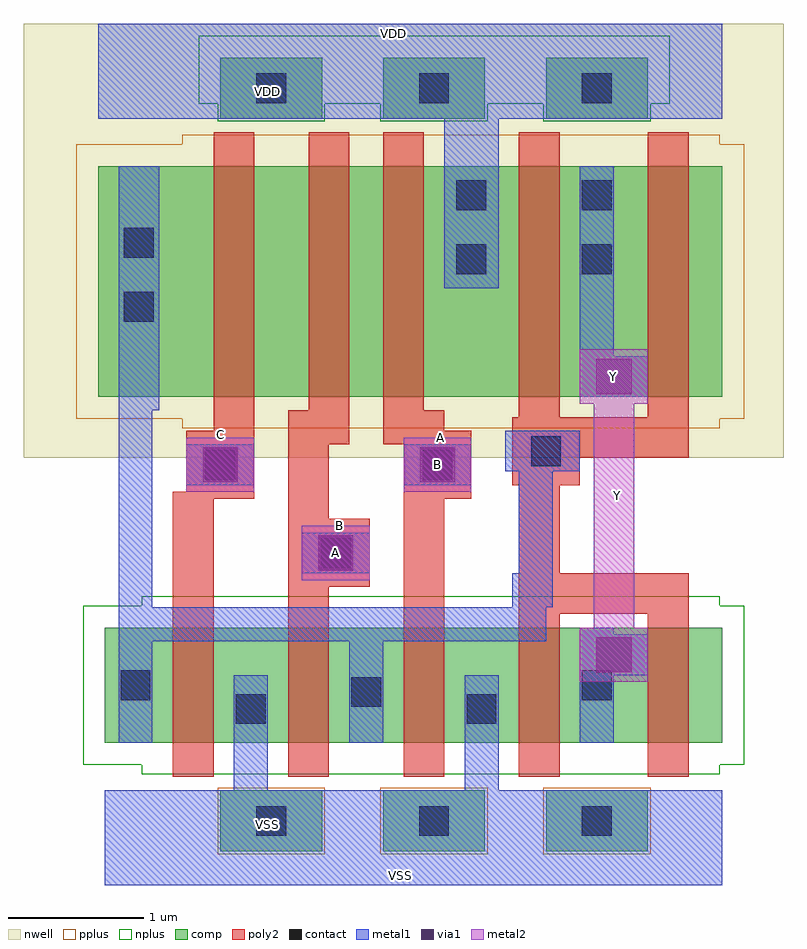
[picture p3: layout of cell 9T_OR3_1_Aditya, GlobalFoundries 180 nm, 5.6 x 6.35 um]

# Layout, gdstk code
import gdstk
lib = gdstk.Library(unit=1e-6, precision=1e-09)
def R(c, l, rs):  # rectangles x0, y0, x1, y1
    for r in rs: c.add(gdstk.rectangle(r[:2], r[2:], *l))
def A(c, l, x, y, w, h, nx, ny, dx, dy):  # array of equal rectangles
    R(c, l, [(x+i*dx, y+j*dy, x+i*dx+w, y+j*dy+h) for i in range(nx) for j in range(ny)])
nwell = (21, 0)
comp = (22, 0)
poly2 = (30, 0)
pplus = (31, 0)
nplus = (32, 0)
contact = (33, 0)
metal1 = (34, 0)
via1 = (35, 0)
metal2 = (36, 0)

c_9t_or3_1_aditya = lib.new_cell('9T_OR3_1_Aditya')
R(c_9t_or3_1_aditya, nwell, [(-1.15,3.15,4.45,6.35)])
A(c_9t_or3_1_aditya, comp, 0.3, 0.25, 0.75, 0.45, 3, 2, 1.2, 5.4)
R(c_9t_or3_1_aditya, comp, [(-0.55,1.05,4,1.9), (-0.6,3.6,4,5.3)])
R(c_9t_or3_1_aditya, poly2, [(-0.05,0.8,0.25,2.85), (0.8,0.8,1.1,2.2), (1.65,0.8,1.95,2.85), (2.5,0.8,2.8,2), (3.45,0.8,3.75,2), (2.5,2,3.75,2.3), (0.8,2.2,1.4,2.7), (2.5,2.3,2.8,2.95), (0.8,2.7,1.1,3.25), (-0.05,2.85,0.55,2.9), (1.65,2.85,2.15,3.25), (0.05,2.9,0.55,3.35), (2.45,2.95,2.95,3.15), (2.45,3.15,3.75,3.45), (0.8,3.25,1.25,3.5), (1.5,3.25,2.15,3.35), (0.25,3.35,0.55,5.55), (1.5,3.35,1.95,3.5), (2.5,3.45,2.8,5.55), (3.45,3.45,3.75,5.55), (0.95,3.5,1.25,5.55), (1.5,3.5,1.8,5.55)])
A(c_9t_or3_1_aditya, pplus, 0.28, 0.23, 0.79, 0.49, 3, 1, 1.2, 0)
R(c_9t_or3_1_aditya, pplus, [(0.02,3.37,3.98,3.44), (-0.76,3.44,4.16,5.46), (0.02,5.46,3.98,5.53)])
A(c_9t_or3_1_aditya, nplus, 0.28, 5.63, 0.79, 0.13, 3, 1, 1.2, 0)
R(c_9t_or3_1_aditya, nplus, [(-0.28,0.82,3.98,0.89), (-0.71,0.89,4.16,2.06), (-0.28,2.06,3.98,2.13), (0.14,5.76,3.61,6.26)])
A(c_9t_or3_1_aditya, contact, 0.565, 0.365, 0.22, 0.22, 3, 2, 1.2, 5.4)
R(c_9t_or3_1_aditya, contact, [(0.415,1.19,0.635,1.41), (2.115,1.19,2.335,1.41), (1.265,1.315,1.485,1.535), (-0.435,1.365,-0.215,1.585), (2.965,1.365,3.185,1.585), (1.04,2.34,1.26,2.56), (0.19,2.99,0.41,3.21), (1.79,2.99,2.01,3.21), (2.59,3.09,2.81,3.31), (-0.41,4.155,-0.19,4.375), (2.04,4.505,2.26,4.725), (2.965,4.505,3.185,4.725), (-0.41,4.625,-0.19,4.845), (2.04,4.975,2.26,5.195), (2.965,4.975,3.185,5.195)])
R(c_9t_or3_1_aditya, metal1, [(-0.55,0,4,0.7), (0.4,0.7,0.65,1.55), (2.1,0.7,2.35,1.55), (-0.45,1.05,-0.2,1.8), (1.25,1.05,1.5,1.8), (2.95,1.05,3.2,1.55), (2.95,1.55,3.45,1.85), (-0.45,1.8,2.7,2.05), (2.95,1.85,3.2,1.9), (-0.45,2.05,-0.2,3.5), (2.45,2.05,2.75,2.3), (0.9,2.3,1.4,2.6), (2.5,2.3,2.75,3.05), (0.05,2.95,0.55,3.25), (1.65,2.95,2.15,3.25), (2.4,3.05,2.95,3.35), (-0.45,3.5,-0.15,5.3), (2.95,3.6,3.45,3.9), (2.95,3.9,3.2,5.3), (1.95,4.4,2.35,5.65), (-0.6,5.65,4,6.35)])
R(c_9t_or3_1_aditya, via1, [(3.07,1.57,3.33,1.83), (1.02,2.32,1.28,2.58), (0.17,2.97,0.43,3.23), (1.77,2.97,2.03,3.23), (3.07,3.62,3.33,3.88)])
R(c_9t_or3_1_aditya, metal2, [(2.95,1.5,3.45,1.9), (3.05,1.9,3.35,3.55), (0.9,2.25,1.4,2.65), (0.05,2.9,0.55,3.3), (1.65,2.9,2.15,3.3), (2.95,3.55,3.45,3.95)])
c_9t_or3_1_aditya.add(gdstk.Label('VDD', (1.575,6.275), layer=34, texttype=0))
c_9t_or3_1_aditya.add(gdstk.Label('VSS', (1.625,0.075), layer=34, texttype=0))
c_9t_or3_1_aditya.add(gdstk.Label('B', (1.175,2.65), layer=30, texttype=0))
c_9t_or3_1_aditya.add(gdstk.Label('A', (1.925,3.3), layer=30, texttype=0))
c_9t_or3_1_aditya.add(gdstk.Label('Y', (3.225,2.875), layer=36, texttype=0))
c_9t_or3_1_aditya.add(gdstk.Label('C', (0.3,3.325), layer=30, texttype=0))
c_9t_or3_1_aditya.add(gdstk.Label('A', (1.15,2.45), layer=36, texttype=10))
c_9t_or3_1_aditya.add(gdstk.Label('B', (1.9,3.1), layer=36, texttype=10))
c_9t_or3_1_aditya.add(gdstk.Label('Y', (3.2,3.75), layer=34, texttype=10))
c_9t_or3_1_aditya.add(gdstk.Label('VDD', (0.65,5.85), layer=22, texttype=0))
c_9t_or3_1_aditya.add(gdstk.Label('VSS', (0.65,0.45), layer=22, texttype=0))

lib.write_gds('9T_OR3_1_Aditya.gds')
